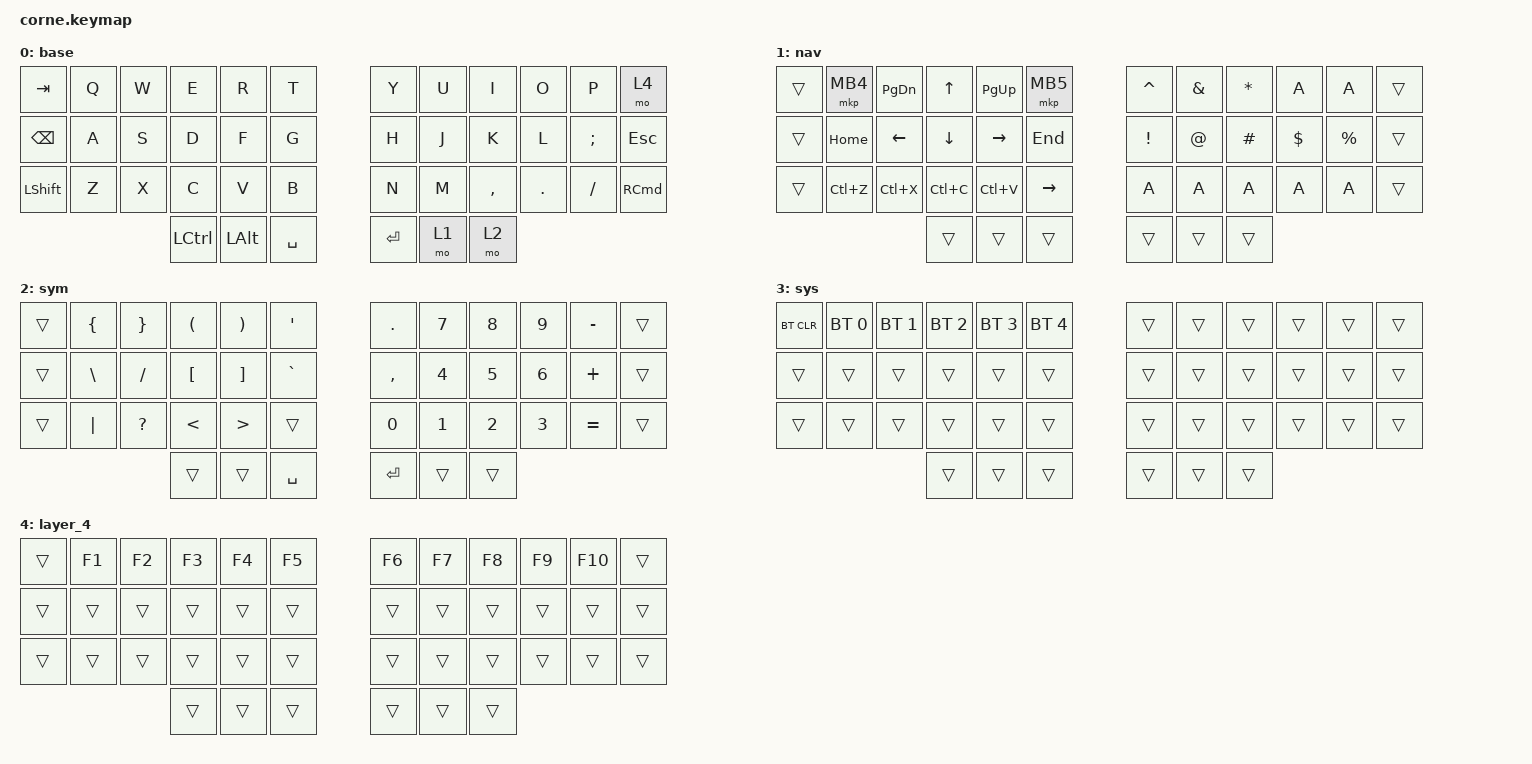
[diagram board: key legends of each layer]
/*
 * Copyright (c) 2020 The ZMK Contributors
 *
 * SPDX-License-Identifier: MIT
 */

#include <behaviors.dtsi>
#include <dt-bindings/zmk/bt.h>
#include <dt-bindings/zmk/keys.h>
#include <dt-bindings/zmk/pointing.h>

/ {
    combos {
        compatible = "zmk,combos";

        nav {
            bindings = <&mo 1>;
            key-positions = <38 37>;
        };
    };

    keymap {
        compatible = "zmk,keymap";

        base {
            // -----------------------------------------------------------------------------------------
            // |  TAB |  Q  |  W  |  E  |  R  |  T  |   |  Y  |  U   |  I  |  O  |  P  | BSPC |
            // | CTRL |  A  |  S  |  D  |  F  |  G  |   |  H  |  J   |  K  |  L  |  ;  |  '   |
            // | SHFT |  Z  |  X  |  C  |  V  |  B  |   |  N  |  M   |  ,  |  .  |  /  | ESC  |
            //                    | GUI | LWR | SPC |   | ENT | RSE  | ALT |

            bindings = <
&kp TAB        &kp Q  &kp W  &kp E      &kp R         &kp T        &kp Y    &kp U  &kp I      &kp O    &kp P     &mo 4
&kp BACKSPACE  &kp A  &kp S  &kp D      &kp F         &kp G        &kp H    &kp J  &kp K      &kp L    &kp SEMI  &kp ESCAPE
&kp LSHFT      &kp Z  &kp X  &kp C      &kp V         &kp B        &kp N    &kp M  &kp COMMA  &kp DOT  &kp FSLH  &kp RIGHT_COMMAND
                             &kp LCTRL  &kp LEFT_ALT  &kp SPACE    &kp RET  &mo 1  &mo 2
            >;
        };

        nav {
            // -----------------------------------------------------------------------------------------
            // |  TAB |  1  |  2  |  3  |  4  |  5  |   |  6  |  7  |  8  |  9  |  0  | BSPC |
            // | BTCLR| BT1 | BT2 | BT3 | BT4 | BT5 |   | LFT | DWN |  UP | RGT |     |      |
            // | SHFT |     |     |     |     |     |   |     |     |     |     |     |      |
            //                    | GUI |     | SPC |   | ENT |     | ALT |

            bindings = <
&trans  &mkp MB4   &kp PG_DN  &kp UP     &kp PG_UP  &mkp MB5     &kp CARET        &kp AMPERSAND  &kp ASTERISK  &kp A       &kp A        &trans
&trans  &kp HOME   &kp LEFT   &kp DOWN   &kp RIGHT  &kp END      &kp EXCLAMATION  &kp AT_SIGN    &kp HASH      &kp DOLLAR  &kp PERCENT  &trans
&trans  &kp LC(Z)  &kp LC(X)  &kp LC(C)  &kp LC(V)  &kp RIGHT    &kp A            &kp A          &kp A         &kp A       &kp A        &trans
                              &trans     &trans     &trans       &trans           &trans         &trans
            >;
        };

        sym {
            // -----------------------------------------------------------------------------------------
            // |  TAB |  !  |  @  |  #  |  $  |  %  |   |  ^  |  &  |  *  |  (  |  )  | BSPC |
            // | CTRL |     |     |     |     |     |   |  -  |  =  |  [  |  ]  |  \  |  `   |
            // | SHFT |     |     |     |     |     |   |  _  |  +  |  {  |  }  | "|" |  ~   |
            //                    | GUI |     | SPC |   | ENT |     | ALT |

            bindings = <
&trans  &kp LEFT_BRACE  &kp RIGHT_BRACE  &kp LEFT_PARENTHESIS  &kp RIGHT_PARENTHESIS  &kp SQT      &kp DOT    &kp N7        &kp N8        &kp N9        &kp MINUS  &trans
&trans  &kp BSLH        &kp FSLH         &kp LBKT              &kp RBKT               &kp GRAVE    &kp COMMA  &kp NUMBER_4  &kp N5        &kp NUMBER_6  &kp PLUS   &trans
&trans  &kp PIPE        &kp QUESTION     &kp LESS_THAN         &kp GREATER_THAN       &trans       &kp N0     &kp N1        &kp NUMBER_2  &kp NUMBER_3  &kp EQUAL  &trans
                                         &trans                &trans                 &kp SPACE    &kp RET    &trans        &trans
            >;
        };

        sys {
            bindings = <
&bt BT_CLR  &bt BT_SEL 0  &bt BT_SEL 1  &bt BT_SEL 2  &bt BT_SEL 3  &bt BT_SEL 4    &trans  &trans  &trans  &trans  &trans  &trans
&trans      &trans        &trans        &trans        &trans        &trans          &trans  &trans  &trans  &trans  &trans  &trans
&trans      &trans        &trans        &trans        &trans        &trans          &trans  &trans  &trans  &trans  &trans  &trans
                                        &trans        &trans        &trans          &trans  &trans  &trans
            >;
        };

        layer_4 {
            bindings = <
&trans  &kp F1  &kp F2  &kp F3  &kp F4  &kp F5    &kp F6  &kp F7  &kp F8  &kp F9  &kp F10  &trans
&trans  &trans  &trans  &trans  &trans  &trans    &trans  &trans  &trans  &trans  &trans   &trans
&trans  &trans  &trans  &trans  &trans  &trans    &trans  &trans  &trans  &trans  &trans   &trans
                        &trans  &trans  &trans    &trans  &trans  &trans
            >;
        };
    };
};
